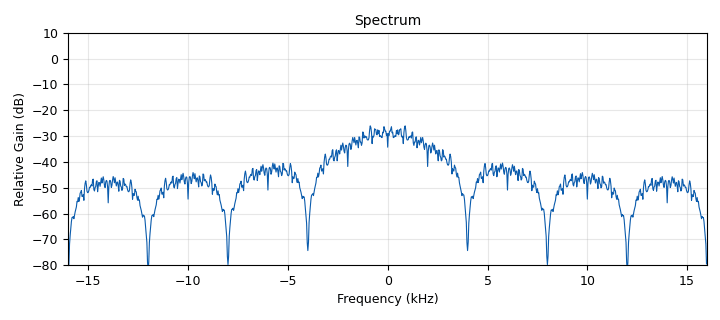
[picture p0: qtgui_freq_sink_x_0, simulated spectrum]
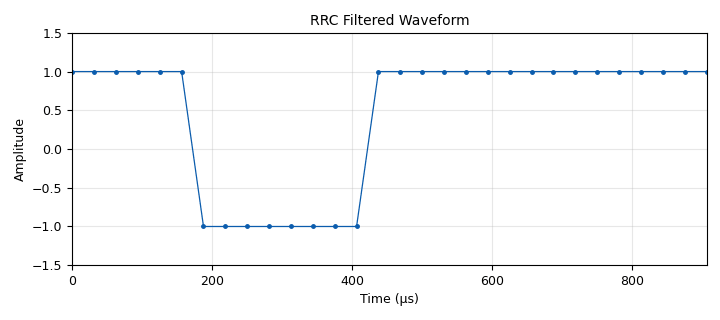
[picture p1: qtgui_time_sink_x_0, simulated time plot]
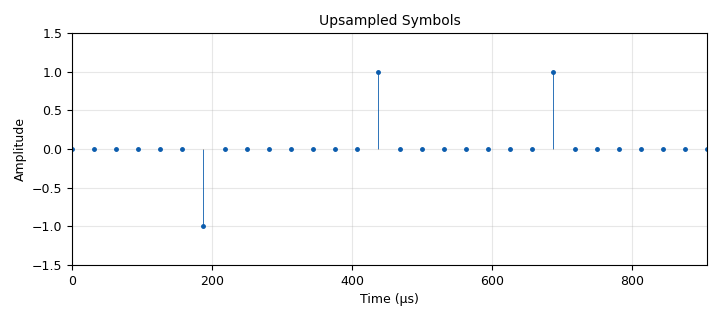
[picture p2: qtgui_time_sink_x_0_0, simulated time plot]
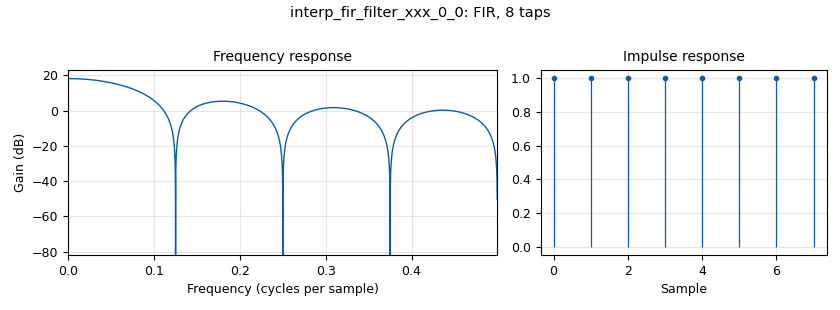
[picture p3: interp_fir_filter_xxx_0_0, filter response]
options:
  parameters:
    author: Qasim Chaudhari
    generate_options: qt_gui
    id: pam_tx_rect
    output_language: python
    title: PAM Tx Rect
  states: {}

blocks:
- name: samp_per_sym
  id: variable
  parameters:
    value: '8'
  states: {}
- name: samp_rate
  id: variable
  parameters:
    value: '32000'
  states: {}
- name: analog_random_source_x_0
  id: analog_random_source_x
  parameters:
    comment: Bits Generation
    max: '2'
    min: '0'
    num_samps: '1000'
    repeat: 'True'
    type: byte
  states: {}
- name: blocks_char_to_float_0
  id: blocks_char_to_float
  parameters:
    scale: '1'
  states: {}
- name: blocks_pack_k_bits_bb_0
  id: blocks_pack_k_bits_bb
  parameters:
    k: '1'
  states: {}
- name: blocks_throttle_0
  id: blocks_throttle
  parameters:
    samples_per_second: samp_rate
    type: byte
  states: {}
- name: digital_map_bb_0
  id: digital_map_bb
  parameters:
    comment: Look-Up Table
    map: (-1,1)
  states: {}
- name: import_0
  id: import
  parameters:
    imports: import numpy as np
  states: {}
- name: interp_fir_filter_xxx_0
  id: interp_fir_filter_xxx
  parameters:
    comment: Upsampler
    interp: samp_per_sym
    taps: np.hstack((1,np.zeros(samp_per_sym-1)))
    type: fff
  states: {}
- name: interp_fir_filter_xxx_0_0
  id: interp_fir_filter_xxx
  parameters:
    comment: Rectangular Pulse
    interp: '1'
    taps: np.ones(samp_per_sym)
    type: fff
  states: {}
- name: qtgui_freq_sink_x_0
  id: qtgui_freq_sink_x
  parameters:
    average: '0.2'
    bw: samp_rate
    fc: '0'
    fftsize: '1024'
    grid: 'True'
    gui_hint: 1,2,1,1
    legend: 'False'
    name: Spectrum
    type: float
    wintype: firdes.WIN_BLACKMAN_hARRIS
    ymin: '-80'
  states: {}
- name: qtgui_time_sink_x_0
  id: qtgui_time_sink_x
  parameters:
    color1: red
    grid: 'True'
    gui_hint: 1,1,1,1
    label1: ''
    legend: 'False'
    marker1: '0'
    name: RRC Filtered Waveform
    size: '30'
    srate: samp_rate
    type: float
    width1: '2'
    ymax: '1.5'
    ymin: '-1.5'
  states: {}
- name: qtgui_time_sink_x_0_0
  id: qtgui_time_sink_x
  parameters:
    grid: 'True'
    gui_hint: 1,0,1,1
    label1: ''
    legend: 'False'
    marker1: '0'
    name: Upsampled Symbols
    size: '30'
    srate: samp_rate
    stemplot: 'True'
    type: float
    width1: '2'
    ymax: '1.5'
    ymin: '-1.5'
  states: {}

connections:
- [analog_random_source_x_0, '0', blocks_throttle_0, '0']
- [blocks_char_to_float_0, '0', interp_fir_filter_xxx_0, '0']
- [blocks_pack_k_bits_bb_0, '0', digital_map_bb_0, '0']
- [blocks_throttle_0, '0', blocks_pack_k_bits_bb_0, '0']
- [digital_map_bb_0, '0', blocks_char_to_float_0, '0']
- [interp_fir_filter_xxx_0, '0', interp_fir_filter_xxx_0_0, '0']
- [interp_fir_filter_xxx_0, '0', qtgui_time_sink_x_0_0, '0']
- [interp_fir_filter_xxx_0_0, '0', qtgui_freq_sink_x_0, '0']
- [interp_fir_filter_xxx_0_0, '0', qtgui_time_sink_x_0, '0']

metadata:
  file_format: 1
